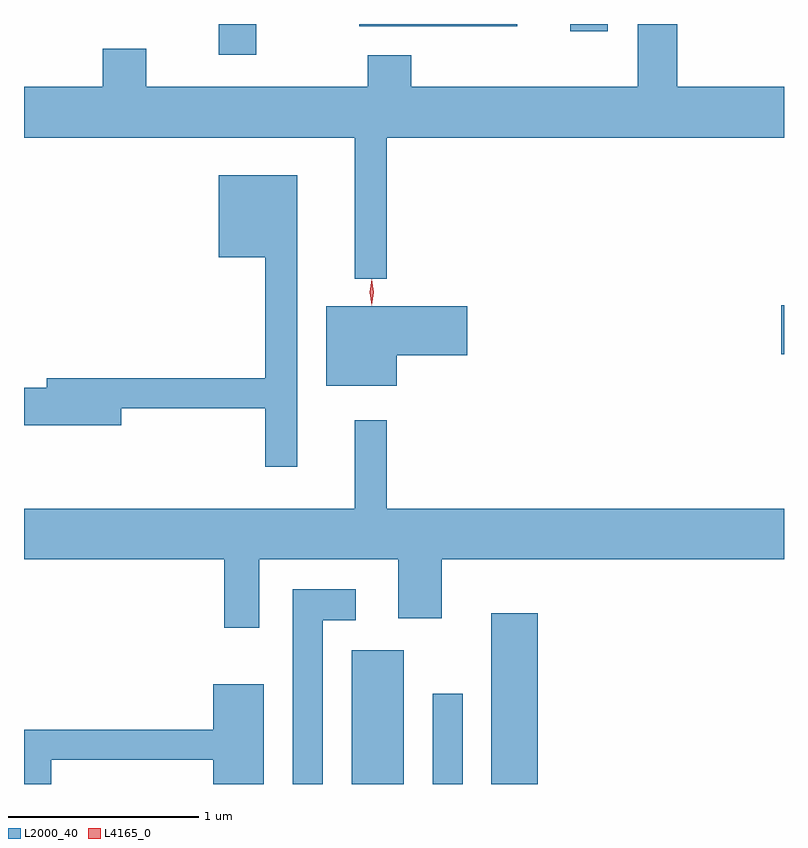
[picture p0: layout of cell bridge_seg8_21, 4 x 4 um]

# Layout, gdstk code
import gdstk
lib = gdstk.Library(unit=1e-6, precision=1e-09)
def R(c, l, rs):  # rectangles x0, y0, x1, y1
    for r in rs: c.add(gdstk.rectangle(r[:2], r[2:], *l))
def P(c, l, *ps):  # polygons
    for p in ps: c.add(gdstk.Polygon(p, *l))
L2000_40 = (2000, 40)
L4165_0 = (4165, 0)

bridge_seg8_21 = lib.new_cell('bridge_seg8_21')
R(bridge_seg8_21, L2000_40, [(1760.746,1919.594,1761.019,1920.299), (1761.171,1919.594,1761.329,1920.068), (1761.481,1919.594,1761.724,1920.494), (1763.006,1921.856,1763.021,1922.114), (1760.046,1923.431,1760.244,1923.594), (1761.896,1923.556,1762.094,1923.594), (1760.786,1923.581,1761.618,1923.594)])
P(bridge_seg8_21, L2000_40, [(1760.929,1922.996),(1763.021,1922.996),(1763.021,1923.264),(1762.459,1923.264),(1762.459,1923.594),(1762.251,1923.594),(1762.251,1923.264),(1761.059,1923.264),(1761.059,1923.429),(1760.831,1923.429),(1760.831,1923.264),(1759.664,1923.264),(1759.664,1923.464),(1759.436,1923.464),(1759.436,1923.264),(1759.021,1923.264),(1759.021,1922.996),(1760.761,1922.996),(1760.761,1922.253),(1760.929,1922.253)],
  [(1760.459,1922.799),(1760.046,1922.799),(1760.046,1922.366),(1760.291,1922.366),(1760.291,1921.729),(1759.141,1921.729),(1759.141,1921.679),(1759.021,1921.679),(1759.021,1921.481),(1759.534,1921.481),(1759.534,1921.571),(1760.291,1921.571),(1760.291,1921.263),(1760.459,1921.263)],
  [(1760.984,1921.851),(1761.354,1921.851),(1761.354,1922.109),(1760.611,1922.109),(1760.611,1921.691),(1760.984,1921.691)],
  [(1760.259,1920.776),(1760.991,1920.776),(1760.991,1920.466),(1761.219,1920.466),(1761.219,1920.776),(1763.021,1920.776),(1763.021,1921.044),(1760.929,1921.044),(1760.929,1921.508),(1760.761,1921.508),(1760.761,1921.044),(1759.021,1921.044),(1759.021,1920.776),(1760.076,1920.776),(1760.076,1920.416),(1760.259,1920.416)],
  [(1760.594,1920.456),(1760.768,1920.456),(1760.768,1920.619),(1760.436,1920.619),(1760.436,1919.594),(1760.594,1919.594)],
  [(1759.164,1919.721),(1760.016,1919.721),(1760.016,1919.594),(1760.284,1919.594),(1760.284,1920.119),(1760.016,1920.119),(1760.016,1919.879),(1759.021,1919.879),(1759.021,1919.594),(1759.164,1919.594)])
P(bridge_seg8_21, L4165_0, [(1760.851,1922.114),(1760.851,1922.114),(1760.841,1922.182),(1760.85,1922.25),(1760.85,1922.25),(1760.851,1922.25),(1760.861,1922.182),(1760.852,1922.114)],
  [(1760.851,1922.12),(1760.851,1922.121),(1760.841,1922.183),(1760.85,1922.246),(1760.85,1922.247),(1760.851,1922.246),(1760.861,1922.184),(1760.852,1922.121)])

lib.write_gds('bridge_seg8_21.gds')
